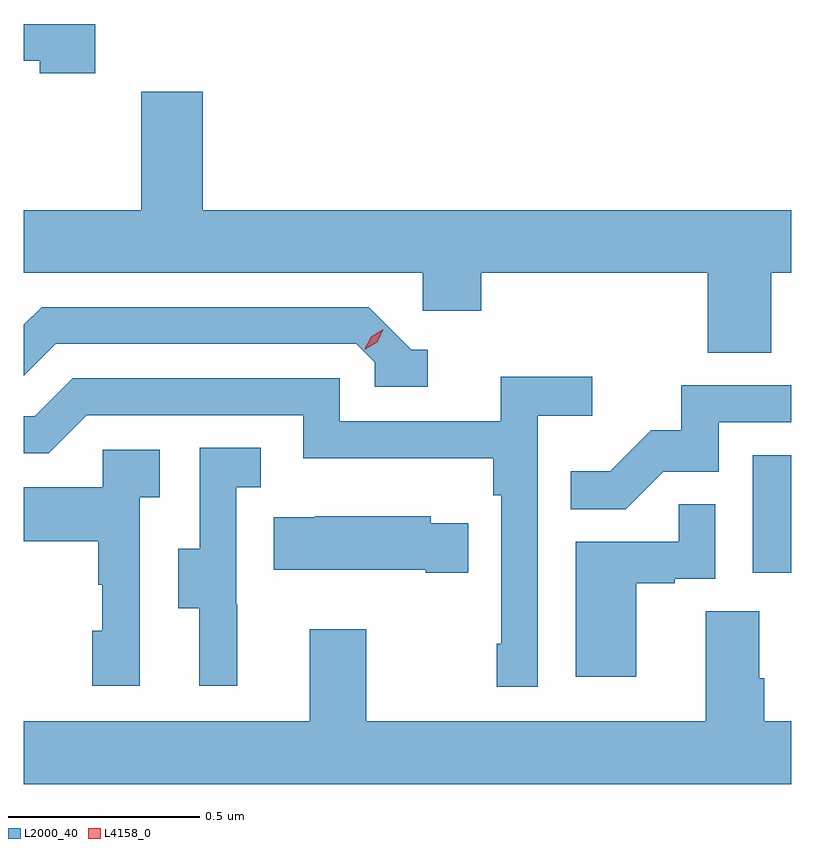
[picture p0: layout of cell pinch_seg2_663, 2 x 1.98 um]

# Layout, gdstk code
import gdstk
lib = gdstk.Library(unit=1e-6, precision=1e-09)
def R(c, l, rs):  # rectangles x0, y0, x1, y1
    for r in rs: c.add(gdstk.rectangle(r[:2], r[2:], *l))
def P(c, l, *ps):  # polygons
    for p in ps: c.add(gdstk.Polygon(p, *l))
L2000_40 = (2000, 40)
L4158_0 = (4158, 0)

pinch_seg2_663 = lib.new_cell('pinch_seg2_663')
R(pinch_seg2_663, L2000_40, [(1071.122,598.902,1071.222,599.209)])
P(pinch_seg2_663, L2000_40, [(1069.408,600.333),(1069.222,600.333),(1069.222,600.237),(1069.263,600.237),(1069.263,600.205),(1069.408,600.205)],
  [(1071.17,599.684),(1071.222,599.684),(1071.222,599.848),(1069.688,599.848),(1069.688,600.157),(1069.528,600.157),(1069.528,599.848),(1069.222,599.848),(1069.222,599.684),(1070.262,599.684),(1070.262,599.586),(1070.414,599.586),(1070.414,599.684),(1071.005,599.684),(1071.005,599.476),(1071.17,599.476)],
  [(1070.275,599.484),(1070.232,599.484),(1070.121,599.595),(1069.268,599.595),(1069.222,599.549),(1069.222,599.416),(1069.305,599.499),(1070.088,599.499),(1070.136,599.451),(1070.136,599.388),(1070.275,599.388)],
  [(1070.562,599.312),(1070.704,599.312),(1070.704,599.414),(1070.465,599.414),(1070.465,599.298),(1070.046,599.298),(1070.046,599.409),(1069.349,599.409),(1069.25,599.31),(1069.222,599.31),(1069.222,599.214),(1069.287,599.214),(1069.386,599.313),(1069.95,599.313),(1069.95,599.201),(1070.446,599.201),(1070.446,599.105),(1070.466,599.105),(1070.466,598.717),(1070.454,598.717),(1070.454,598.605),(1070.562,598.605)],
  [(1070.889,599.166),(1071.033,599.166),(1071.033,599.295),(1071.222,599.295),(1071.222,599.391),(1070.935,599.391),(1070.935,599.274),(1070.858,599.274),(1070.751,599.167),(1070.647,599.167),(1070.647,599.068),(1070.791,599.068)],
  [(1069.778,598.821),(1069.776,598.821),(1069.776,599.125),(1069.84,599.125),(1069.84,599.228),(1069.68,599.228),(1069.68,598.965),(1069.625,598.965),(1069.625,598.81),(1069.679,598.81),(1069.679,598.608),(1069.778,598.608)],
  [(1069.524,599.099),(1069.576,599.099),(1069.576,599.223),(1069.428,599.223),(1069.428,599.125),(1069.222,599.125),(1069.222,598.985),(1069.416,598.985),(1069.416,598.871),(1069.426,598.871),(1069.426,598.752),(1069.4,598.752),(1069.4,598.608),(1069.524,598.608)],
  [(1070.818,598.875),(1070.918,598.875),(1070.918,598.887),(1071.024,598.887),(1071.024,599.081),(1070.929,599.081),(1070.929,598.983),(1070.66,598.983),(1070.66,598.632),(1070.818,598.632)],
  [(1070.381,599.032),(1070.283,599.032),(1070.283,599.05),(1069.981,599.05),(1069.981,599.047),(1069.873,599.047),(1069.873,598.91),(1070.27,598.91),(1070.27,598.903),(1070.381,598.903)],
  [(1071.222,598.516),(1071.152,598.516),(1071.152,598.628),(1071.139,598.628),(1071.139,598.802),(1070.999,598.802),(1070.999,598.516),(1070.115,598.516),(1070.115,598.756),(1069.967,598.756),(1069.967,598.516),(1069.222,598.516),(1069.222,598.352),(1071.222,598.352)])
P(pinch_seg2_663, L4158_0, [(1070.111,599.485),(1070.111,599.486),(1070.128,599.518),(1070.159,599.537),(1070.159,599.537),(1070.159,599.537),(1070.143,599.504),(1070.112,599.485)])

lib.write_gds('pinch_seg2_663.gds')
